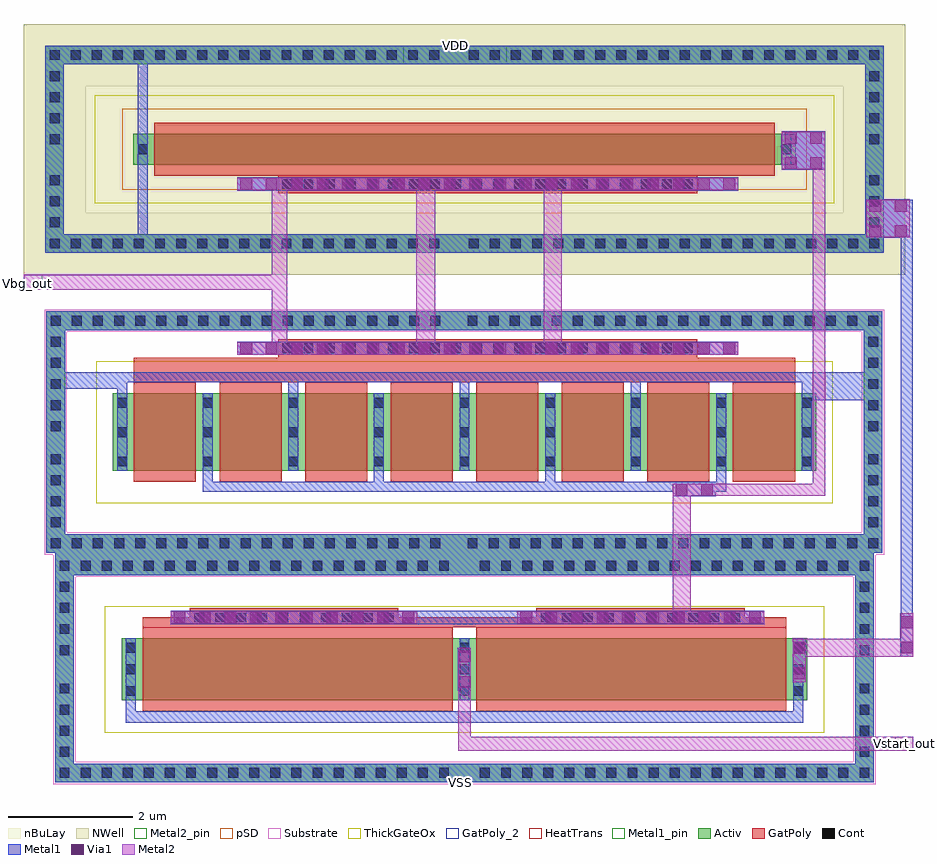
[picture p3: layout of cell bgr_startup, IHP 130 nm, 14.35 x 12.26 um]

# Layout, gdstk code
import gdstk
lib = gdstk.Library(unit=1e-6, precision=1e-09)
def R(c, l, rs):  # rectangles x0, y0, x1, y1
    for r in rs: c.add(gdstk.rectangle(r[:2], r[2:], *l))
def A(c, l, x, y, w, h, nx, ny, dx, dy):  # array of equal rectangles
    R(c, l, [(x+i*dx, y+j*dy, x+i*dx+w, y+j*dy+h) for i in range(nx) for j in range(ny)])
def P(c, l, *ps):  # polygons
    for p in ps: c.add(gdstk.Polygon(p, *l))
Activ = (1, 0)
GatPoly = (5, 0)
GatPoly_2 = (5, 2)
Cont = (6, 0)
Metal1 = (8, 0)
Metal1_pin = (8, 2)
Metal2 = (10, 0)
Metal2_pin = (10, 2)
pSD = (14, 0)
Via1 = (19, 0)
NWell = (31, 0)
nBuLay = (32, 0)
Substrate = (40, 0)
ThickGateOx = (44, 0)
HeatTrans = (51, 0)

pmoshv_3 = lib.new_cell('pmosHV$3')
R(pmoshv_3, Activ, [(-1.42,-1.12,-1.12,1.62), (11.8,-1.12,12.1,1.62), (0,0,0.3,0.3), (0,0,10.68,0.5), (10.38,0,10.68,0.3), (-1.42,1.62,12.1,1.92)])
P(pmoshv_3, Activ, [(-1.42,-1.42),(-1.42,1.62),(-1.12,1.62),(-1.12,-1.12),(11.8,-1.12),(11.8,1.62),(-1.42,1.62),(-1.42,1.92),(12.1,1.92),(12.1,-1.42)])
R(pmoshv_3, GatPoly, [(0.34,-0.18,10.34,0.68)])
R(pmoshv_3, GatPoly_2, [(0.34,-0.18,10.34,0.68)])
A(pmoshv_3, Cont, -1.35, -1.35, 0.16, 0.16, 19, 2, 0.34, 3.04)
A(pmoshv_3, Cont, 5.41, -1.35, 0.16, 0.16, 20, 2, 0.34, 3.04)
A(pmoshv_3, Cont, -1.35, -1.01, 0.16, 0.16, 1, 3, 0, 0.34)
A(pmoshv_3, Cont, 11.87, -1.01, 0.16, 0.16, 1, 3, 0, 0.34)
A(pmoshv_3, Cont, -1.35, 0.33, 0.16, 0.16, 1, 4, 0, 0.34)
A(pmoshv_3, Cont, 11.87, 0.33, 0.16, 0.16, 1, 4, 0, 0.34)
R(pmoshv_3, Cont, [(0.07,0.17,0.23,0.33), (10.45,0.17,10.61,0.33)])
R(pmoshv_3, Metal1, [(-1.42,-1.42,12.1,-1.12), (-1.42,-1.12,-1.12,1.62), (11.8,-1.12,12.1,1.62), (0.07,0,0.23,0.5), (10.45,0,10.61,0.5), (-1.42,1.62,12.1,1.92)])
R(pmoshv_3, Metal1_pin, [(0.07,0,0.23,0.5), (10.45,0,10.61,0.5)])
R(pmoshv_3, pSD, [(-0.18,-0.4,10.86,0.9)])
R(pmoshv_3, NWell, [(-1.77,-1.77,12.45,2.27), (-0.62,-0.62,11.3,1.12)])
R(pmoshv_3, nBuLay, [(-1.77,-0.77,-0.77,1.27), (11.45,-0.77,12.45,1.27), (-1.77,1.27,12.45,2.27)])
P(pmoshv_3, nBuLay, [(-1.77,-1.77),(-1.77,1.27),(-0.77,1.27),(-0.77,-0.77),(11.45,-0.77),(11.45,1.27),(-1.77,1.27),(-1.77,2.27),(12.45,2.27),(12.45,-1.77)])
R(pmoshv_3, Substrate, [(10.38,0,10.68,0.3)])
R(pmoshv_3, ThickGateOx, [(-0.62,-0.62,11.3,1.12)])
R(pmoshv_3, HeatTrans, [(0.34,-0.18,10.34,0.68)])
pmoshv_3.add(gdstk.Label('pmosHV', (5.34,0.25), layer=63, texttype=0))
pmoshv_3.add(gdstk.Label('well', (5.34,-1.27), layer=63, texttype=0))
pmoshv_3.add(gdstk.Label('pmos', (5.34,0.25), layer=51, texttype=0))

nmoshv_3 = lib.new_cell('nmosHV$3')
A(nmoshv_3, Activ, 0, 0, 0.3, 0.3, 9, 1, 1.38, 0)
R(nmoshv_3, Activ, [(-1.07,-1.02,-0.77,2.27), (12.11,-1.02,12.41,2.27), (0,0,11.34,1.25), (-1.07,2.27,12.41,2.57)])
P(nmoshv_3, Activ, [(-1.07,-1.32),(-1.07,2.27),(-0.77,2.27),(-0.77,-1.02),(12.11,-1.02),(12.11,2.27),(-1.07,2.27),(-1.07,2.57),(12.41,2.57),(12.41,-1.32)])
A(nmoshv_3, GatPoly, 0.34, -0.18, 1, 1.61, 8, 1, 1.38, 0)
R(nmoshv_3, GatPoly_2, [(0.34,-0.18,1.34,1.43)])
A(nmoshv_3, Cont, -1, -1.25, 0.16, 0.16, 19, 2, 0.34, 3.59)
A(nmoshv_3, Cont, 5.72, -1.25, 0.16, 0.16, 20, 2, 0.34, 3.59)
A(nmoshv_3, Cont, -1, -0.91, 0.16, 0.16, 1, 4, 0, 0.34)
A(nmoshv_3, Cont, 12.18, -0.91, 0.16, 0.16, 1, 4, 0, 0.34)
A(nmoshv_3, Cont, 0.07, 0.07, 0.16, 0.16, 9, 3, 1.38, 0.475)
A(nmoshv_3, Cont, -1, 0.64, 0.16, 0.16, 1, 5, 0, 0.34)
A(nmoshv_3, Cont, 12.18, 0.64, 0.16, 0.16, 1, 5, 0, 0.34)
A(nmoshv_3, Metal1, 0.07, 0, 0.16, 1.25, 9, 1, 1.38, 0)
R(nmoshv_3, Metal1, [(-1.07,-1.32,12.41,-1.02), (-1.07,-1.02,-0.77,2.27), (12.11,-1.02,12.41,2.27), (-1.07,2.27,12.41,2.57)])
R(nmoshv_3, Metal1_pin, [(0.07,0,0.23,1.25), (1.45,0,1.61,1.25)])
R(nmoshv_3, pSD, [(-1.1,-0.99,-0.74,2.24), (12.08,-0.99,12.44,2.24), (-1.1,2.24,12.44,2.6)])
P(nmoshv_3, pSD, [(-1.1,-1.35),(-1.1,2.24),(-0.74,2.24),(-0.74,-0.99),(12.08,-0.99),(12.08,2.24),(-1.1,2.24),(-1.1,2.6),(12.44,2.6),(12.44,-1.35)])
R(nmoshv_3, Substrate, [(-1.1,-0.99,-0.74,2.24), (12.08,-0.99,12.44,2.24), (-1.1,2.24,12.44,2.6)])
P(nmoshv_3, Substrate, [(-1.1,-1.35),(-1.1,2.24),(-0.74,2.24),(-0.74,-0.99),(12.08,-0.99),(12.08,2.24),(-1.1,2.24),(-1.1,2.6),(12.44,2.6),(12.44,-1.35)])
R(nmoshv_3, ThickGateOx, [(-0.27,-0.52,11.61,1.77)])
A(nmoshv_3, HeatTrans, 0.34, -0.18, 1, 1.61, 8, 1, 1.38, 0)
nmoshv_3.add(gdstk.Label('nmosHV', (0.84,0.625), layer=63, texttype=0))
nmoshv_3.add(gdstk.Label('sub!', (5.67,-1.17), layer=63, texttype=0))
nmoshv_3.add(gdstk.Label('nmosHV', (0.84,0.625), layer=51, texttype=0))
nmoshv_3.add(gdstk.Label('nmosHV', (2.22,0.625), layer=51, texttype=0))
nmoshv_3.add(gdstk.Label('nmosHV', (3.6,0.625), layer=51, texttype=0))
nmoshv_3.add(gdstk.Label('nmosHV', (4.98,0.625), layer=51, texttype=0))
nmoshv_3.add(gdstk.Label('nmosHV', (6.36,0.625), layer=51, texttype=0))
nmoshv_3.add(gdstk.Label('nmosHV', (7.74,0.625), layer=51, texttype=0))
nmoshv_3.add(gdstk.Label('nmosHV', (9.12,0.625), layer=51, texttype=0))
nmoshv_3.add(gdstk.Label('nmosHV', (10.5,0.625), layer=51, texttype=0))

nmoshv_4 = lib.new_cell('nmosHV$4')
A(nmoshv_4, Activ, 0, 0, 0.3, 0.3, 3, 1, 5.38, 0)
R(nmoshv_4, Activ, [(-1.07,-1.02,-0.77,2.02), (11.83,-1.02,12.13,2.02), (0,0,11.06,1), (-1.07,2.02,12.13,2.32)])
P(nmoshv_4, Activ, [(-1.07,-1.32),(-1.07,2.02),(-0.77,2.02),(-0.77,-1.02),(11.83,-1.02),(11.83,2.02),(-1.07,2.02),(-1.07,2.32),(12.13,2.32),(12.13,-1.32)])
R(nmoshv_4, GatPoly, [(0.34,-0.18,5.34,1.18), (5.72,-0.18,10.72,1.18)])
R(nmoshv_4, GatPoly_2, [(0.34,-0.18,5.34,1.18)])
A(nmoshv_4, Cont, -1, -1.25, 0.16, 0.16, 19, 2, 0.34, 3.34)
A(nmoshv_4, Cont, 5.78, -1.25, 0.16, 0.16, 19, 2, 0.34, 3.34)
A(nmoshv_4, Cont, -1, -0.91, 0.16, 0.16, 1, 4, 0, 0.34)
A(nmoshv_4, Cont, 11.9, -0.91, 0.16, 0.16, 1, 4, 0, 0.34)
A(nmoshv_4, Cont, 0.07, 0.07, 0.16, 0.16, 3, 3, 5.38, 0.35)
A(nmoshv_4, Cont, -1, 0.73, 0.16, 0.16, 1, 4, 0, 0.34)
A(nmoshv_4, Cont, 11.9, 0.73, 0.16, 0.16, 1, 4, 0, 0.34)
A(nmoshv_4, Metal1, 0.07, 0, 0.16, 1, 3, 1, 5.38, 0)
R(nmoshv_4, Metal1, [(-1.07,-1.32,12.13,-1.02), (-1.07,-1.02,-0.77,2.02), (11.83,-1.02,12.13,2.02), (-1.07,2.02,12.13,2.32)])
R(nmoshv_4, Metal1_pin, [(0.07,0,0.23,1), (5.45,0,5.61,1)])
R(nmoshv_4, pSD, [(-1.1,-0.99,-0.74,1.99), (11.8,-0.99,12.16,1.99), (-1.1,1.99,12.16,2.35)])
P(nmoshv_4, pSD, [(-1.1,-1.35),(-1.1,1.99),(-0.74,1.99),(-0.74,-0.99),(11.8,-0.99),(11.8,1.99),(-1.1,1.99),(-1.1,2.35),(12.16,2.35),(12.16,-1.35)])
R(nmoshv_4, Substrate, [(-1.1,-0.99,-0.74,1.99), (11.8,-0.99,12.16,1.99), (-1.1,1.99,12.16,2.35)])
P(nmoshv_4, Substrate, [(-1.1,-1.35),(-1.1,1.99),(-0.74,1.99),(-0.74,-0.99),(11.8,-0.99),(11.8,1.99),(-1.1,1.99),(-1.1,2.35),(12.16,2.35),(12.16,-1.35)])
R(nmoshv_4, ThickGateOx, [(-0.27,-0.52,11.33,1.52)])
R(nmoshv_4, HeatTrans, [(0.34,-0.18,5.34,1.18), (5.72,-0.18,10.72,1.18)])
nmoshv_4.add(gdstk.Label('nmosHV', (2.84,0.5), layer=63, texttype=0))
nmoshv_4.add(gdstk.Label('sub!', (5.53,-1.17), layer=63, texttype=0))
nmoshv_4.add(gdstk.Label('nmosHV', (2.84,0.5), layer=51, texttype=0))
nmoshv_4.add(gdstk.Label('nmosHV', (8.22,0.5), layer=51, texttype=0))

via_stack_45 = lib.new_cell('via_stack$45')
R(via_stack_45, GatPoly, [(-1.68,-0.15,1.68,0.15)])
A(via_stack_45, Cont, -1.61, -0.08, 0.16, 0.16, 10, 1, 0.34, 0)
R(via_stack_45, Metal1, [(-1.99,-0.105,1.99,0.105)])
R(via_stack_45, Metal2, [(-1.99,-0.1,1.99,0.1)])
A(via_stack_45, Via1, -1.94, -0.095, 0.19, 0.19, 10, 1, 0.41, 0)

via_stack_38 = lib.new_cell('via_stack$38')
R(via_stack_38, Metal1, [(-0.35,-0.31,0.35,0.31)])
R(via_stack_38, Metal2, [(-0.35,-0.305,0.35,0.305)])
R(via_stack_38, Via1, [(-0.3,-0.3,-0.11,-0.11), (0.11,-0.3,0.3,-0.11), (-0.3,0.11,-0.11,0.3), (0.11,0.11,0.3,0.3)])

via_stack_40 = lib.new_cell('via_stack$40')
R(via_stack_40, Metal1, [(-0.35,-0.105,0.35,0.105)])
R(via_stack_40, Metal2, [(-0.35,-0.1,0.35,0.1)])
R(via_stack_40, Via1, [(-0.3,-0.095,-0.11,0.095), (0.11,-0.095,0.3,0.095)])

via_stack_46 = lib.new_cell('via_stack$46')
R(via_stack_46, GatPoly, [(-3.38,-0.15,3.38,0.15)])
A(via_stack_46, Cont, -3.31, -0.08, 0.16, 0.16, 20, 1, 0.34, 0)
R(via_stack_46, Metal1, [(-4.04,-0.105,4.04,0.105)])
R(via_stack_46, Metal2, [(-4.04,-0.1,4.04,0.1)])
A(via_stack_46, Via1, -3.99, -0.095, 0.19, 0.19, 20, 1, 0.41, 0)

via_stack_37 = lib.new_cell('via_stack$37')
R(via_stack_37, Metal1, [(-0.105,-0.35,0.105,0.35)])
R(via_stack_37, Metal2, [(-0.1,-0.35,0.1,0.35)])
R(via_stack_37, Via1, [(-0.095,-0.3,0.095,-0.11), (-0.095,0.11,0.095,0.3)])

bgr_startup = lib.new_cell('bgr_startup')
R(bgr_startup, Activ, [(-6.585,-2.985,6.615,-2.925)])
R(bgr_startup, GatPoly, [(-5.175,-4.125,5.205,-3.965), (-5.315,-0.175,5.345,0.22)])
A(bgr_startup, Metal1, -4.205, -1.945, 0.16, 0.34, 4, 1, 2.76, 0)
A(bgr_startup, Metal1, -5.585, -0.355, 0.16, 0.34, 5, 1, 2.76, 0)
R(bgr_startup, Metal1, [(-5.445,-5.665,5.475,-5.485), (-5.445,-5.64,-5.285,-5.305), (5.315,-5.64,5.475,-5.305), (7.05,-4.6,7.245,2.765), (-1,-4.075,0.96,-3.865), (-6.585,-2.985,6.615,-2.925), (-4.205,-1.945,4.235,-1.785), (5.615,-0.465,6.605,-0.015), (-6.575,-0.285,-5.585,-0.015), (-5.585,-0.175,5.615,-0.015), (-5.255,2.21,-5.095,3.33), (-5.255,3.83,-5.095,4.95)])
R(bgr_startup, Metal1_pin, [(-1.07,-6.625,1.085,-6.325), (-0.975,4.95,0.7,5.25)])
R(bgr_startup, Metal2, [(-0.085,-6.115,0.115,-5.155), (-0.085,-6.115,7.255,-5.895), (5.31,-4.605,7.25,-4.315), (3.37,-4.07,3.66,-1.81), (4.02,-2.01,5.83,-1.81), (5.63,-2.01,5.83,3.4), (-3.095,0.29,-2.84,3.115), (-0.765,0.29,-0.46,3.12), (1.295,0.29,1.58,3.12), (-7.095,1.315,-2.84,1.56)])
R(bgr_startup, Metal2_pin, [(6.96,-6.115,7.255,-5.895), (-7.095,1.315,-6.795,1.56)])
bgr_startup.add(gdstk.Reference(pmoshv_3, (-5.325,3.33)))
bgr_startup.add(gdstk.Reference(nmoshv_3, (-5.655,-1.605)))
bgr_startup.add(gdstk.Reference(nmoshv_4, (-5.515,-5.305)))
bgr_startup.add(gdstk.Reference(via_stack_45, (-2.735,-3.97)))
bgr_startup.add(gdstk.Reference(via_stack_45, (2.855,-3.97)))
bgr_startup.add(gdstk.Reference(via_stack_38, (5.48,3.56)))
bgr_startup.add(gdstk.Reference(via_stack_40, (3.72,-1.91)))
bgr_startup.add(gdstk.Reference(via_stack_46, (0.39,0.37)))
bgr_startup.add(gdstk.Reference(via_stack_46, (0.39,3.02)))
bgr_startup.add(gdstk.Reference(via_stack_38, (6.845,2.465)))
bgr_startup.add(gdstk.Reference(via_stack_37, (7.15,-4.25)))
bgr_startup.add(gdstk.Reference(via_stack_37, (5.415,-4.665)))
bgr_startup.add(gdstk.Reference(via_stack_37, (0.015,-4.805)))
bgr_startup.add(gdstk.Label('VDD', (-0.137,5.25), layer=8, texttype=2))
bgr_startup.add(gdstk.Label('VSS', (-0.05,-6.625), layer=8, texttype=2))
bgr_startup.add(gdstk.Label('Vbg_out', (-7.095,1.415), layer=10, texttype=2))
bgr_startup.add(gdstk.Label('Vstart_out', (7.255,-6.005), layer=10, texttype=2))

lib.write_gds('bgr_startup.gds')
